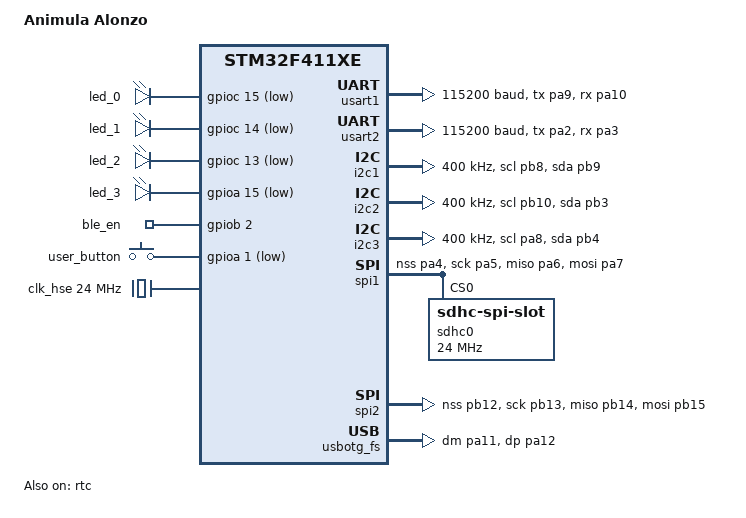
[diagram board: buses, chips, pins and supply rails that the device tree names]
/*
 * Copyright (c) 2026 HardenedLinux Animula
 * Author: Nala Ginrut <roy@hardenedlinux.org>
 *
 * SPDX-License-Identifier: GPL-3.0-or-later
 */

/dts-v1/;
#include <st/f4/stm32f411Xe.dtsi>
#include <st/f4/stm32f411c(c-e)ux-pinctrl.dtsi>
#include <zephyr/dt-bindings/input/input-event-codes.h>

/ {
	model = "Animula Alonzo";
	compatible = "animula,animula-alonzo";

	chosen {
		zephyr,console = &usart1;
		zephyr,shell-uart = &usart1;
		zephyr,sram = &sram0;
		zephyr,flash = &flash0;
	};

	leds {
		compatible = "gpio-leds";

		led_0: led_0 {
			gpios = <&gpioc 15 GPIO_ACTIVE_LOW>;
		};
		led_1: led_1 {
			gpios = <&gpioc 14 GPIO_ACTIVE_LOW>;
		};
		led_2: led_2 {
			gpios = <&gpioc 13 GPIO_ACTIVE_LOW>;
		};
		led_3: led_3 {
			gpios = <&gpioa 15 GPIO_ACTIVE_LOW>;
		};
	};

	ble_control {
		compatible = "gpio-leds";

		ble_en: ble_en {
			gpios = <&gpiob 2 GPIO_ACTIVE_HIGH>;
		};
	};

	gpio_keys {
		compatible = "gpio-keys";

		user_button: button {
			gpios = <&gpioa 1 GPIO_ACTIVE_LOW>;
			zephyr,code = <INPUT_KEY_0>;
		};
	};

	aliases {
		led0 = &led_0;
		led1 = &led_1;
		led2 = &led_2;
		led3 = &led_3;
		ble-en = &ble_en;
		sw0 = &user_button;
	};
};

&clk_hse {
	clock-frequency = <DT_FREQ_M(24)>;
	status = "okay";
};

&pll {
	div-m = <12>;
	mul-n = <96>;
	div-p = <2>;
	div-q = <4>;
	clocks = <&clk_hse>;
	status = "okay";
};

&rcc {
	clocks = <&pll>;
	clock-frequency = <DT_FREQ_M(96)>;
	ahb-prescaler = <1>;
	apb1-prescaler = <2>;
	apb2-prescaler = <1>;
};

&clk_lsi {
	status = "okay";
};

&usart1 {
	pinctrl-0 = <&usart1_tx_pa9 &usart1_rx_pa10>;
	pinctrl-names = "default";
	current-speed = <115200>;
	status = "okay";
};

&usart2 {
	pinctrl-0 = <&usart2_tx_pa2 &usart2_rx_pa3>;
	pinctrl-names = "default";
	current-speed = <115200>;
	status = "okay";
};

&i2c1 {
	pinctrl-0 = <&i2c1_scl_pb8 &i2c1_sda_pb9>;
	pinctrl-names = "default";
	clock-frequency = <I2C_BITRATE_FAST>;
	status = "okay";
};

&i2c2 {
	pinctrl-0 = <&i2c2_scl_pb10 &i2c2_sda_pb3>;
	pinctrl-names = "default";
	clock-frequency = <I2C_BITRATE_FAST>;
	status = "okay";
};

&i2c3 {
	pinctrl-0 = <&i2c3_scl_pa8 &i2c3_sda_pb4>;
	pinctrl-names = "default";
	clock-frequency = <I2C_BITRATE_FAST>;
	status = "okay";
};

&spi1 {
	pinctrl-0 = <&spi1_nss_pa4 &spi1_sck_pa5
		     &spi1_miso_pa6 &spi1_mosi_pa7>;
	pinctrl-names = "default";
	status = "okay";

	sdhc0: sdhc@0 {
		compatible = "zephyr,sdhc-spi-slot";
		reg = <0>;
		spi-max-frequency = <24000000>;
		status = "okay";

		mmc {
			compatible = "zephyr,sdmmc-disk";
			disk-name = "SD";
			status = "okay";
		};
	};
};

&spi2 {
	pinctrl-0 = <&spi2_nss_pb12 &spi2_sck_pb13
		     &spi2_miso_pb14 &spi2_mosi_pb15>;
	pinctrl-names = "default";
	status = "okay";
};

zephyr_udc0: &usbotg_fs {
	pinctrl-0 = <&usb_otg_fs_dm_pa11 &usb_otg_fs_dp_pa12>;
	pinctrl-names = "default";
	status = "okay";
};

&rtc {
	clocks = <&rcc STM32_CLOCK(APB1, 28)>,
		 <&rcc STM32_SRC_LSI RTC_SEL(2)>;
	status = "okay";
};
